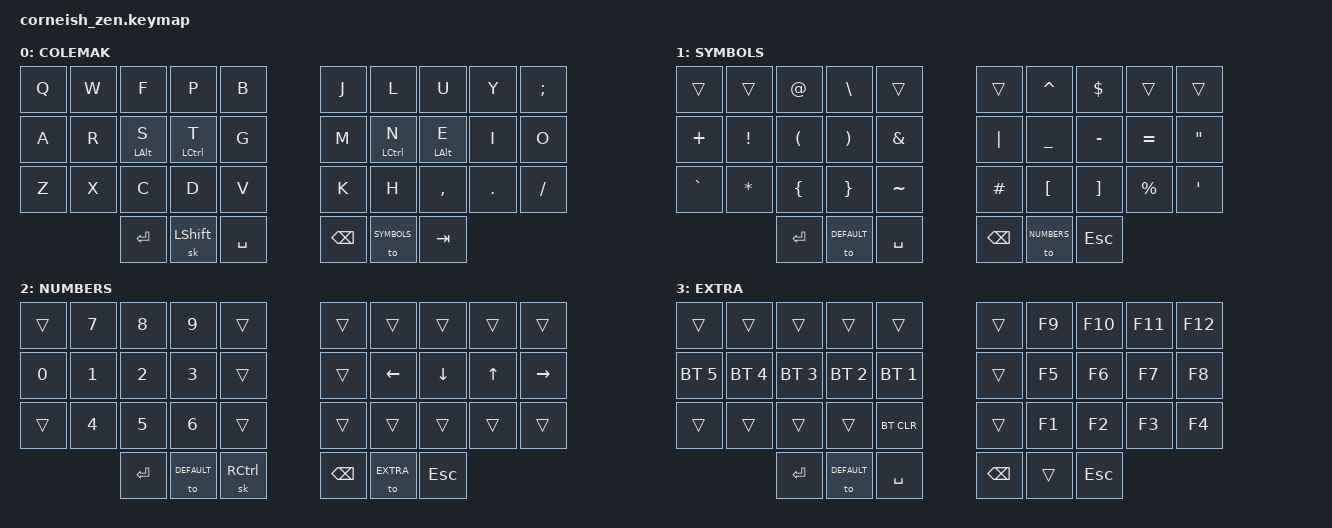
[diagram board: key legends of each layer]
/*
*
* Copyright (c) 2021 Darryl deHaan
* SPDX-License-Identifier: MIT
*
*/

#include <behaviors.dtsi>
#include <dt-bindings/zmk/keys.h>
#include <dt-bindings/zmk/bt.h>

#define DEFAULT 0
#define SYMBOLS 1
#define NUMBERS 2
#define EXTRA   3


/ {
  chosen {
     //zmk,matrix_transform = &default_transform;
    zmk,matrix_transform = &five_column_transform;
  };
};

/ {
        keymap {
                compatible = "zmk,keymap";

                default_layer {
                        label = "COLEMAK";
// -----------------------------------------------------------------------------------------
// |  Q  |  W  |  F  |  P  |  B  |   |  J  |  L   |  U  |  Y  |  ;  |
// |  A  |  R  |  S  |  T  |  G  |   |  M  |  N   |  E  |  I  |  O  |
// |  Z  |  X  |  C  |  D  |  V  |   |  K  |  H   |  ,  |  .  |  /  |
//         | ENTER | SHIFT | SPC |   | BSPC | SYMBOLS  | TAB |
                        bindings = <
   &kp Q &kp W &kp F      &kp P      &kp B   &kp J &kp L       &kp U      &kp Y   &kp SEMI
   &kp A &kp R &mt LALT S &mt LCTL T &kp G   &kp M &mt LCTL N  &mt LALT E &kp I   &kp O
   &kp Z &kp X &kp C      &kp D      &kp V   &kp K &kp H       &kp COMMA  &kp DOT &kp FSLH
    &kp RET &sk LSHIFT &kp SPACE             &kp BSPC &to SYMBOLS &kp TAB
                        >;
                };
                symbol_layer {
                        label = "SYMBOLS";
// -----------------------------------------------------------------------------------------
// |     |     |  @  |  \  |  %  |   |     |  ^  |  $  |     |     |
// |  +  |  !  |  (  |  )  |  &  |   |  |  |  _  |  -  |  =  |  "  |
// |  `  |  *  |  {  |  }  |  ~  |   |  #  |  [  |  ]  |  %  | '   |
//     | ENTER | NUMBERS | SPACE |   | BSPC | NUMBERS  | ESC |
                        bindings = <
   &trans     &trans    &kp AT    &kp BSLH &trans       &trans   &kp CARET &kp DOLLAR &trans      &trans
   &kp PLUS   &kp EXCL  &kp LPAR  &kp RPAR &kp AMPS     &kp PIPE &kp UNDER &kp MINUS  &kp EQUAL   &kp DOUBLE_QUOTES
   &kp GRAVE  &kp STAR  &kp LBRC  &kp RBRC &kp TILDE    &kp HASH &kp LBKT  &kp RBKT   &kp PERCENT &kp SINGLE_QUOTE
                    &kp ENTER &to DEFAULT &kp SPACE     &kp BSPC &to NUMBERS  &kp ESC
                        >;
                };
                number_layer {
                        label = "NUMBERS";
// -----------------------------------------------------------------------------------------
// |     |  7  |  8  |  9  |    |       |     |      |      |     |       |
// |  0  |  1  |  2  |  3  |    |       |     | LEFT | DOWN | UP  | RIGHT |
// |     |  4  |  5  |  6  |    |       |     |      |      |     |       |
//    | ENTER | DEFAULT | CTL |          | BSPC | EXTRA  | ESC |
                        bindings = <
   &trans  &kp N7 &kp N8  &kp N9  &trans      &trans   &trans   &trans &trans    &trans
   &kp N0  &kp N1 &kp N2  &kp N3  &trans      &trans   &kp LEFT &kp DOWN &kp UP  &kp RIGHT
   &trans  &kp N4 &kp N5  &kp N6  &trans      &trans   &trans   &trans &trans    &trans
    &kp ENTER  &to DEFAULT &sk RCTL        &kp BSPC  &to EXTRA  &kp ESC
                        >;
                };

                extra_layer {
                        label = "EXTRA";
// -----------------------------------------------------------------------------------------
// |     |     |     |     |        |           |      |  F9  |  F10 |  F11 |  F12 |
// | BT5 | BT4 | BT3 | BT2 |  BT1   |           |      |  F5  |  F6  |  F7  |  F8  |
// |     |     |     |     |  BTCLR |           |      |  F1  |  F2  |  F3  |  F4  |
//    | ENTER | DEFAULT | CTL |                  | BSPC |      | ESC |
                        bindings = <
   &trans       &trans       &trans       &trans       &trans            &trans   &kp F9   &kp F10 &kp F11  &kp F12
   &bt BT_SEL 5 &bt BT_SEL 4 &bt BT_SEL 3 &bt BT_SEL 2 &bt BT_SEL 1      &trans   &kp F5   &kp F6  &kp F7   &kp F8
   &trans       &trans       &trans       &trans       &bt BT_CLR        &trans   &kp F1   &kp F2  &kp F3   &kp F4
                        &kp ENTER  &to DEFAULT &kp SPACE                       &kp BSPC  &trans  &kp ESC
                        >;
                };
        };
};
